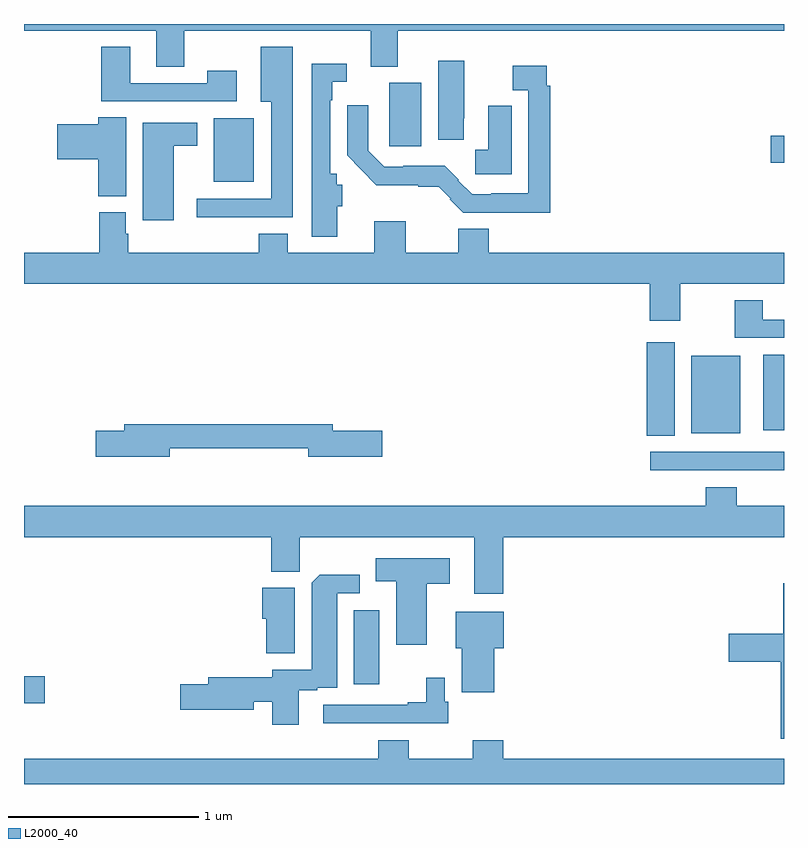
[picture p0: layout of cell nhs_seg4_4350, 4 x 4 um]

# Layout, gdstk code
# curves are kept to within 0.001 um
import gdstk
lib = gdstk.Library(unit=1e-6, precision=1e-09)
def R(c, l, rs):  # rectangles x0, y0, x1, y1
    for r in rs: c.add(gdstk.rectangle(r[:2], r[2:], *l))
def P(c, l, *ps):  # polygons
    for p in ps: c.add(gdstk.Polygon(p, *l))
L2000_40 = (2000, 40)

nhs_seg4_4350 = lib.new_cell('nhs_seg4_4350')
R(nhs_seg4_4350, L2000_40, [(345,749.326,345.109,749.468), (346.736,749.426,346.87,749.815), (348.297,750.552,349,750.648), (348.278,750.733,348.424,751.225), (348.512,750.746,348.769,751.153), (348.89,750.761,349,751.159), (345.998,752.069,346.21,752.404), (348.93,752.17,349,752.312), (346.922,752.256,347.092,752.59)])
P(nhs_seg4_4350, L2000_40, [(345.843,752.864),(346.826,752.864),(346.826,752.675),(346.966,752.675),(346.966,752.864),(349,752.864),(349,752.9),(345,752.9),(345,752.864),(345.695,752.864),(345.695,752.674),(345.843,752.674)],
  [(346.414,752.779),(346.247,752.779),(346.247,752.492),(346.301,752.492),(346.301,751.98),(345.909,751.98),(345.909,751.883),(346.414,751.883)],
  [(346.12,752.653),(345.964,752.653),(345.964,752.589),(345.559,752.589),(345.559,752.779),(345.407,752.779),(345.407,752.493),(346.12,752.493)],
  [(347.314,752.404),(347.317,752.404),(347.317,752.707),(347.18,752.707),(347.18,752.292),(347.314,752.292)],
  [(346.648,751.941),(346.675,751.941),(346.675,752.055),(346.647,752.055),(346.647,752.112),(346.611,752.112),(346.611,752.498),(346.623,752.498),(346.623,752.595),(346.699,752.595),(346.699,752.692),(346.515,752.692),(346.515,752.009),(346.514,752.009),(346.514,751.781),(346.648,751.781)],
  [(347.771,752.576),(347.751,752.576),(347.751,752.68),(347.572,752.68),(347.572,752.552),(347.655,752.552),(347.655,752.008),(347.458,752.008),(347.458,752.004),(347.358,752.004),(347.286,752.076),(347.289,752.079),(347.215,752.153),(346.996,752.153),(346.996,752.148),(346.896,752.148),(346.812,752.232),(346.812,752.473),(346.7,752.473),(346.7,752.208),(346.855,752.051),(347.075,752.051),(347.075,752.043),(347.183,752.043),(347.245,751.981),(347.241,751.977),(347.311,751.907),(347.771,751.907)],
  [(347.566,752.471),(347.444,752.471),(347.444,752.239),(347.376,752.239),(347.376,752.11),(347.566,752.11)],
  [(345.538,752.408),(345.392,752.408),(345.392,752.372),(345.174,752.372),(345.174,752.189),(345.392,752.189),(345.392,751.993),(345.538,751.993)],
  [(345.787,752.258),(345.913,752.258),(345.913,752.38),(345.626,752.38),(345.626,751.868),(345.787,751.868)],
  [(348.453,751.532),(349,751.532),(349,751.696),(347.446,751.696),(347.446,751.822),(347.285,751.822),(347.285,751.696),(347.008,751.696),(347.008,751.861),(346.844,751.861),(346.844,751.696),(346.387,751.696),(346.387,751.795),(346.235,751.795),(346.235,751.696),(345.548,751.696),(345.548,751.797),(345.535,751.797),(345.535,751.908),(345.395,751.908),(345.395,751.696),(345,751.696),(345,751.532),(348.293,751.532),(348.293,751.338),(348.453,751.338)],
  [(349,751.344),(348.889,751.344),(348.889,751.447),(348.742,751.447),(348.742,751.248),(349,751.248)],
  [(345.766,750.666),(346.496,750.666),(346.496,750.623),(346.885,750.623),(346.885,750.758),(346.624,750.758),(346.624,750.794),(345.527,750.794),(345.527,750.758),(345.378,750.758),(345.378,750.623),(345.766,750.623)],
  [(347.522,750.2),(349,750.2),(349,750.364),(348.752,750.364),(348.752,750.463),(348.587,750.463),(348.587,750.364),(345,750.364),(345,750.2),(346.301,750.2),(346.301,750.018),(346.451,750.018),(346.451,750.2),(347.369,750.2),(347.369,749.901),(347.522,749.901)],
  [(347.119,749.954),(347.242,749.954),(347.242,750.088),(346.852,750.088),(346.852,749.966),(346.958,749.966),(346.958,749.634),(347.119,749.634)],
  [(346.447,749.394),(346.544,749.394),(346.544,749.406),(346.648,749.406),(346.648,749.904),(346.767,749.904),(346.767,750.002),(346.556,750.002),(346.514,749.96),(346.514,749.502),(346.307,749.502),(346.307,749.462),(345.971,749.462),(345.971,749.426),(345.822,749.426),(345.822,749.291),(346.21,749.291),(346.21,749.334),(346.307,749.334),(346.307,749.211),(346.447,749.211)],
  [(349,749.956),(348.995,749.956),(348.995,749.69),(348.708,749.69),(348.708,749.543),(348.983,749.543),(348.983,749.139),(349,749.139)],
  [(346.426,749.932),(346.253,749.932),(346.253,749.77),(346.274,749.77),(346.274,749.587),(346.426,749.587)],
  [(347.474,749.615),(347.524,749.615),(347.524,749.806),(347.273,749.806),(347.273,749.615),(347.303,749.615),(347.303,749.382),(347.474,749.382)],
  [(347.234,749.334),(347.214,749.334),(347.214,749.458),(347.116,749.458),(347.116,749.329),(347.021,749.329),(347.021,749.316),(346.575,749.316),(346.575,749.22),(347.234,749.22)],
  [(349,749.032),(347.522,749.032),(347.522,749.131),(347.362,749.131),(347.362,749.032),(347.025,749.032),(347.025,749.131),(346.865,749.131),(346.865,749.032),(345,749.032),(345,748.9),(349,748.9)])

lib.write_gds('nhs_seg4_4350.gds')
